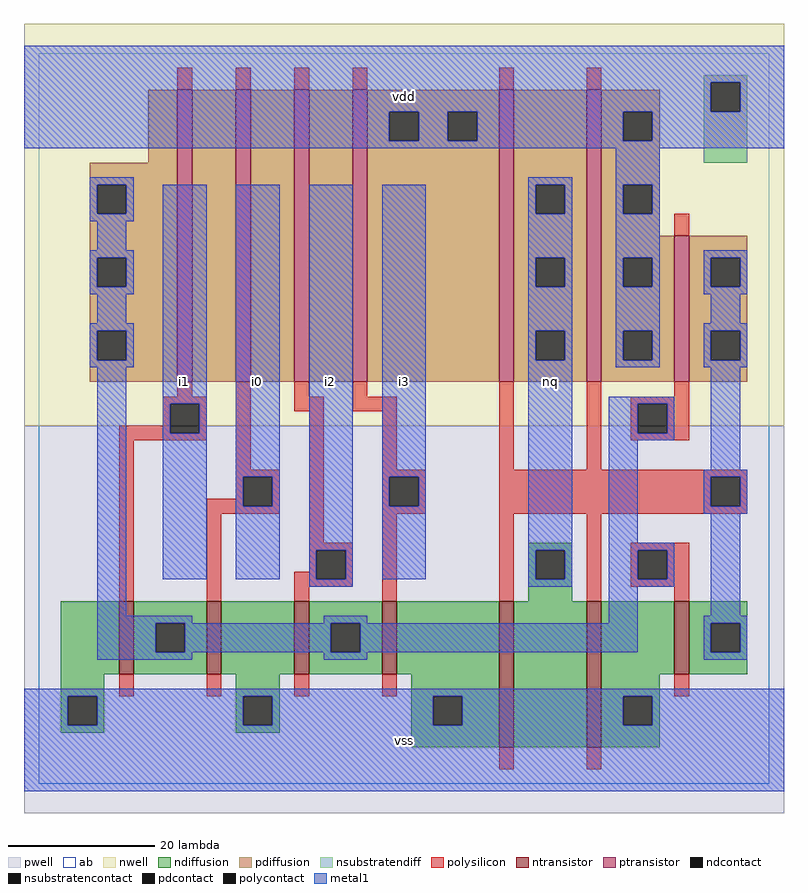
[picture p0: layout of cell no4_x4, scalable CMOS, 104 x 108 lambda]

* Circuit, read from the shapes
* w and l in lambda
.subckt no4_x4 i0 i1 i2 i3 nq vdd vss
M1 n1 i1 vss VSUBS nfet w=10 l=2
M2 vss i0 n1 VSUBS nfet w=10 l=2
M3 n1 i2 vss VSUBS nfet w=10 l=2
M4 vss i3 n1 VSUBS nfet w=10 l=2
M5 nq n2 vss VSUBS nfet w=20 l=2 m=2
M6 n2 n1 vss VSUBS nfet w=10 l=2
M7 n3 i1 n1 vdd pfet w=40 l=2
M8 n4 i0 n3 vdd pfet w=40 l=2
M9 n5 i2 n4 vdd pfet w=40 l=2
M10 vdd i3 n5 vdd pfet w=40 l=2
M11 nq n2 vdd vdd pfet w=40 l=2 m=2
M12 n2 n1 vdd vdd pfet w=20 l=2
.ends

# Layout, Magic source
magic
tech scmos
<< ab >>
rect 0 0 100 100
<< pwell >>
rect -2 -4 102 49
<< nwell >>
rect -2 49 102 104
<< polysilicon >>
rect 19 95 21 98
rect 27 95 29 98
rect 35 95 37 98
rect 43 95 45 98
rect 63 95 65 98
rect 75 95 77 98
rect 87 75 89 78
rect 19 53 21 55
rect 17 52 23 53
rect 17 49 18 52
rect 11 48 18 49
rect 22 48 23 52
rect 11 47 23 48
rect 11 25 13 47
rect 27 43 29 55
rect 35 53 37 55
rect 43 53 45 55
rect 35 51 39 53
rect 43 51 49 53
rect 27 42 33 43
rect 27 39 28 42
rect 23 38 28 39
rect 32 38 33 42
rect 23 37 33 38
rect 23 25 25 37
rect 37 33 39 51
rect 47 43 49 51
rect 63 43 65 55
rect 75 43 77 55
rect 87 53 89 55
rect 81 52 89 53
rect 81 48 82 52
rect 86 48 89 52
rect 81 47 89 48
rect 47 42 53 43
rect 47 38 48 42
rect 52 38 53 42
rect 47 37 53 38
rect 63 42 97 43
rect 63 38 92 42
rect 96 38 97 42
rect 63 37 97 38
rect 37 32 43 33
rect 37 29 38 32
rect 35 28 38 29
rect 42 28 43 32
rect 35 27 43 28
rect 35 25 37 27
rect 47 25 49 37
rect 63 25 65 37
rect 75 25 77 37
rect 81 32 89 33
rect 81 28 82 32
rect 86 28 89 32
rect 81 27 89 28
rect 87 25 89 27
rect 11 12 13 15
rect 23 12 25 15
rect 35 12 37 15
rect 47 12 49 15
rect 87 12 89 15
rect 63 2 65 5
rect 75 2 77 5
<< ndiffusion >>
rect 67 32 73 33
rect 67 28 68 32
rect 72 28 73 32
rect 67 25 73 28
rect 3 15 11 25
rect 13 22 23 25
rect 13 18 16 22
rect 20 18 23 22
rect 13 15 23 18
rect 25 15 35 25
rect 37 22 47 25
rect 37 18 40 22
rect 44 18 47 22
rect 37 15 47 18
rect 49 15 63 25
rect 3 12 9 15
rect 27 12 33 15
rect 51 12 63 15
rect 3 8 4 12
rect 8 8 9 12
rect 3 7 9 8
rect 27 8 28 12
rect 32 8 33 12
rect 27 7 33 8
rect 51 8 54 12
rect 58 8 63 12
rect 51 5 63 8
rect 65 5 75 25
rect 77 15 87 25
rect 89 22 97 25
rect 89 18 92 22
rect 96 18 97 22
rect 89 15 97 18
rect 77 12 85 15
rect 77 8 80 12
rect 84 8 85 12
rect 77 5 85 8
<< pdiffusion >>
rect 15 85 19 95
rect 7 82 19 85
rect 7 78 8 82
rect 12 78 19 82
rect 7 72 19 78
rect 7 68 8 72
rect 12 68 19 72
rect 7 62 19 68
rect 7 58 8 62
rect 12 58 19 62
rect 7 55 19 58
rect 21 55 27 95
rect 29 55 35 95
rect 37 55 43 95
rect 45 92 63 95
rect 45 88 48 92
rect 52 88 56 92
rect 60 88 63 92
rect 45 55 63 88
rect 65 82 75 95
rect 65 78 68 82
rect 72 78 75 82
rect 65 72 75 78
rect 65 68 68 72
rect 72 68 75 72
rect 65 62 75 68
rect 65 58 68 62
rect 72 58 75 62
rect 65 55 75 58
rect 77 92 85 95
rect 77 88 80 92
rect 84 88 85 92
rect 77 82 85 88
rect 77 78 80 82
rect 84 78 85 82
rect 77 75 85 78
rect 77 72 87 75
rect 77 68 80 72
rect 84 68 87 72
rect 77 62 87 68
rect 77 58 80 62
rect 84 58 87 62
rect 77 55 87 58
rect 89 72 97 75
rect 89 68 92 72
rect 96 68 97 72
rect 89 62 97 68
rect 89 58 92 62
rect 96 58 97 62
rect 89 55 97 58
<< metal1 >>
rect -2 96 102 101
rect -2 92 92 96
rect 96 92 102 96
rect -2 88 48 92
rect 52 88 56 92
rect 60 88 80 92
rect 84 88 102 92
rect -2 87 102 88
rect 7 82 13 83
rect 67 82 73 83
rect 7 78 8 82
rect 12 78 13 82
rect 7 77 13 78
rect 8 73 12 77
rect 7 72 13 73
rect 7 68 8 72
rect 12 68 13 72
rect 7 67 13 68
rect 8 63 12 67
rect 7 62 13 63
rect 7 58 8 62
rect 12 58 13 62
rect 7 57 13 58
rect 8 23 12 57
rect 17 52 23 82
rect 17 48 18 52
rect 22 48 23 52
rect 17 28 23 48
rect 27 42 33 82
rect 27 38 28 42
rect 32 38 33 42
rect 27 28 33 38
rect 37 32 43 82
rect 37 28 38 32
rect 42 28 43 32
rect 47 42 53 82
rect 47 38 48 42
rect 52 38 53 42
rect 47 28 53 38
rect 67 78 68 82
rect 72 78 73 82
rect 67 72 73 78
rect 67 68 68 72
rect 72 68 73 72
rect 67 62 73 68
rect 67 58 68 62
rect 72 58 73 62
rect 67 32 73 58
rect 79 82 85 87
rect 79 78 80 82
rect 84 78 85 82
rect 79 72 85 78
rect 79 68 80 72
rect 84 68 85 72
rect 79 62 85 68
rect 91 72 97 73
rect 91 68 92 72
rect 96 68 97 72
rect 91 67 97 68
rect 92 63 96 67
rect 79 58 80 62
rect 84 58 85 62
rect 79 57 85 58
rect 91 62 97 63
rect 91 58 92 62
rect 96 58 97 62
rect 91 57 97 58
rect 67 28 68 32
rect 72 28 73 32
rect 37 27 43 28
rect 67 27 73 28
rect 78 52 87 53
rect 78 48 82 52
rect 86 48 87 52
rect 78 47 87 48
rect 78 33 82 47
rect 92 43 96 57
rect 91 42 97 43
rect 91 38 92 42
rect 96 38 97 42
rect 91 37 97 38
rect 78 32 87 33
rect 78 28 82 32
rect 86 28 87 32
rect 78 27 87 28
rect 8 22 21 23
rect 39 22 45 23
rect 78 22 82 27
rect 92 23 96 37
rect 8 18 16 22
rect 20 18 40 22
rect 44 18 82 22
rect 91 22 97 23
rect 91 18 92 22
rect 96 18 97 22
rect 8 17 21 18
rect 39 17 45 18
rect 91 17 97 18
rect -2 12 102 13
rect -2 8 4 12
rect 8 8 28 12
rect 32 8 54 12
rect 58 8 80 12
rect 84 8 102 12
rect -2 -1 102 8
<< ntransistor >>
rect 11 15 13 25
rect 23 15 25 25
rect 35 15 37 25
rect 47 15 49 25
rect 63 5 65 25
rect 75 5 77 25
rect 87 15 89 25
<< ptransistor >>
rect 19 55 21 95
rect 27 55 29 95
rect 35 55 37 95
rect 43 55 45 95
rect 63 55 65 95
rect 75 55 77 95
rect 87 55 89 75
<< polycontact >>
rect 18 48 22 52
rect 28 38 32 42
rect 82 48 86 52
rect 48 38 52 42
rect 92 38 96 42
rect 38 28 42 32
rect 82 28 86 32
<< ndcontact >>
rect 68 28 72 32
rect 16 18 20 22
rect 40 18 44 22
rect 4 8 8 12
rect 28 8 32 12
rect 54 8 58 12
rect 92 18 96 22
rect 80 8 84 12
<< pdcontact >>
rect 8 78 12 82
rect 8 68 12 72
rect 8 58 12 62
rect 48 88 52 92
rect 56 88 60 92
rect 68 78 72 82
rect 68 68 72 72
rect 68 58 72 62
rect 80 88 84 92
rect 80 78 84 82
rect 80 68 84 72
rect 80 58 84 62
rect 92 68 96 72
rect 92 58 96 62
<< nsubstratencontact >>
rect 92 92 96 96
<< nsubstratendiff >>
rect 91 96 97 97
rect 91 92 92 96
rect 96 92 97 96
rect 91 85 97 92
<< labels >>
rlabel metal1 20 55 20 55 6 i1
rlabel metal1 20 55 20 55 6 i1
rlabel metal1 40 55 40 55 6 i2
rlabel metal1 30 55 30 55 6 i0
rlabel metal1 40 55 40 55 6 i2
rlabel metal1 30 55 30 55 6 i0
rlabel metal1 50 6 50 6 6 vss
rlabel metal1 50 6 50 6 6 vss
rlabel metal1 50 55 50 55 6 i3
rlabel metal1 50 55 50 55 6 i3
rlabel metal1 70 55 70 55 6 nq
rlabel metal1 70 55 70 55 6 nq
rlabel metal1 50 94 50 94 6 vdd
rlabel metal1 50 94 50 94 6 vdd
<< end >>
